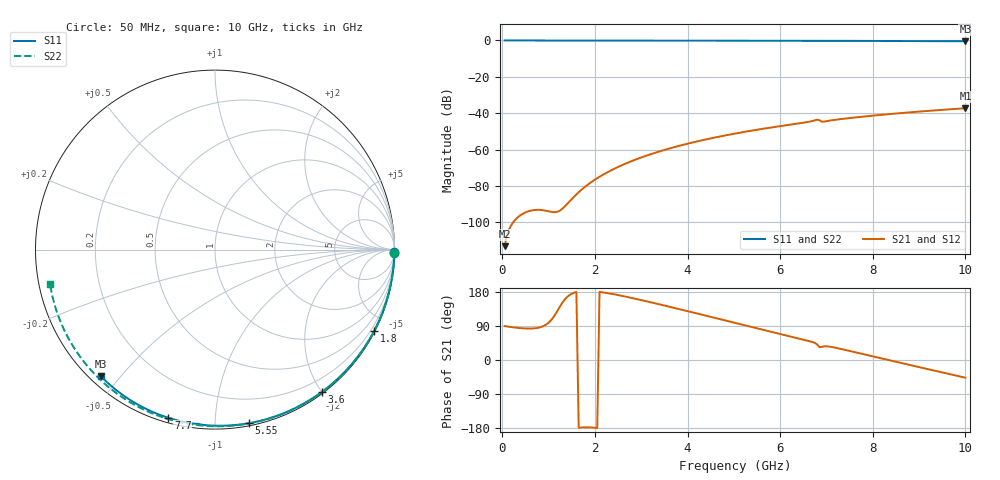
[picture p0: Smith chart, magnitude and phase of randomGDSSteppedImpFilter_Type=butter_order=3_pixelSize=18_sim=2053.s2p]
! freq	dB(S11)	phase(S11)	dB(S12)	phase(S12)
!  dB(S21)	phase(S21)	dB(S22)	phase(S22)
!S-par simulation data
#  GHz  S  DB  R 50
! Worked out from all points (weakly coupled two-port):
!   200 points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, 50 MHz to 10 GHz, reference 50 ohm
!   highest |S21| = -37.29 dB at 10 GHz (marker M1); lowest = -113.1 dB at 50 MHz (marker M2)
!   lowest |S11| = -0.4 dB at 10 GHz (marker M3), VSWR 38.83, Z = 1.54 - j22.3 ohm
!   |S11| at or under -10 dB: nowhere
!   |S22| runs from -0.5 to 0.0 dB; largest |S21 - S12| = 0
!   S11 on the Smith chart (normalised r, x): 50 MHz: open; 1.8 GHz: 0.04, -4.15; 3.6 GHz: 0.02, -2.01; 5.55 GHz: 0.02, -1.21; 7.7 GHz: 0.02, -0.76; 10 GHz: 0.03, -0.45
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0.05  -0.00 -0.8  -113.15 89.5  -113.15 89.5  -0.00 -1.0
0.9  -0.02 -13.7  -93.44 90.2  -93.44 90.2  -0.02 -17.3
1.75  -0.03 -26.3  -81.24 -177.8  -81.24 -177.8  -0.04 -33.3
1.8  -0.03 -27.1  -80.22 -177.6  -80.22 -177.6  -0.04 -34.3
2.15  -0.04 -32.2  -74.21 178.9  -74.21 178.9  -0.05 -40.7
2.5  -0.05 -37.3  -69.58 171.4  -69.58 171.4  -0.06 -47.1
2.9  -0.06 -43.1  -65.31 160.9  -65.31 160.9  -0.07 -54.3
3.4  -0.07 -50.1  -60.98 146.7  -60.98 146.7  -0.08 -63.1
3.6  -0.07 -52.9  -59.48 140.8  -59.48 140.8  -0.09 -66.6
4.3  -0.09 -62.6  -54.98 119.9  -54.98 119.9  -0.11 -78.5
5.05  -0.11 -72.6  -51.10 97.3  -51.10 97.3  -0.14 -90.8
5.55  -0.13 -79.0  -48.91 82.2  -48.91 82.2  -0.16 -98.9
6.1  -0.15 -86.0  -46.76 65.8  -46.76 65.8  -0.19 -107.5
6.7  -0.18 -93.5  -44.31 47.5  -44.31 47.5  -0.23 -116.8
6.8  -0.20 -94.8  -43.57 40.9  -43.57 40.9  -0.23 -118.3
6.85  -0.22 -95.3  -43.88 33.9  -43.88 33.9  -0.23 -119.1
6.9  -0.21 -95.8  -44.67 34.5  -44.67 34.5  -0.24 -119.9
6.95  -0.21 -96.4  -44.62 36.3  -44.62 36.3  -0.24 -120.6
7.7  -0.24 -105.5  -42.13 18.2  -42.13 18.2  -0.30 -132.0
8.35  -0.29 -113.1  -40.52 -0.4  -40.52 -0.4  -0.36 -141.9
9.2  -0.36 -122.9  -38.73 -24.4  -38.73 -24.4  -0.45 -155.1
10  -0.45 -131.9  -37.29 -46.7  -37.29 -46.7  -0.55 -168.1
